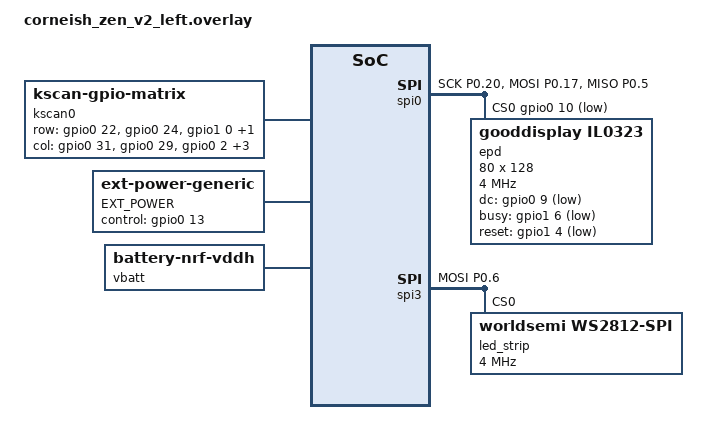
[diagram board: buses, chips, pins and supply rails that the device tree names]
/*
*
* Copyright (c) 2021 Darryl deHaan
* SPDX-License-Identifier: MIT
*
*/

#include "corneish_zen.dtsi"
#include <dt-bindings/led/led.h>



/{
    chosen {
        zephyr,display = &epd;
        zmk,battery = &vbatt;
        zmk,underglow = &led_strip;
    };

    kscan0: kscan {
        compatible = "zmk,kscan-gpio-matrix";
     wakeup-source;
        diode-direction = "col2row";
        row-gpios
            = <&gpio0 22 (GPIO_ACTIVE_HIGH | GPIO_PULL_DOWN)>
            , <&gpio0 24 (GPIO_ACTIVE_HIGH | GPIO_PULL_DOWN)>
            , <&gpio1 0 (GPIO_ACTIVE_HIGH | GPIO_PULL_DOWN)>
            , <&gpio0 11 (GPIO_ACTIVE_HIGH | GPIO_PULL_DOWN)>
            ;

        col-gpios
            = <&gpio0 31 GPIO_ACTIVE_HIGH>
            , <&gpio0 29 GPIO_ACTIVE_HIGH>
            , <&gpio0 2 GPIO_ACTIVE_HIGH>
            , <&gpio1 15 GPIO_ACTIVE_HIGH>
            , <&gpio1  13 GPIO_ACTIVE_HIGH>
            , <&gpio1  11 GPIO_ACTIVE_HIGH>
            ;
    };

    //leds {
     //   compatible = "gpio-leds";
     //   blue_led: led_0 {
     //       gpios = <&gpio0 13 GPIO_ACTIVE_HIGH>;
     //   };
   // };

    ext-power {
        compatible = "zmk,ext-power-generic";
        label = "EXT_POWER";
        control-gpios = <&gpio0 13 GPIO_ACTIVE_HIGH>;
         init-delay-ms = <50>;
    };

     vbatt: vbatt {
        compatible = "zmk,battery-nrf-vddh";
    };

};



&pinctrl {
    spi0_default: spi0_default {
        group1 {
            psels = <NRF_PSEL(SPIM_SCK, 0, 20)>,
                <NRF_PSEL(SPIM_MOSI, 0, 17)>,
                <NRF_PSEL(SPIM_MISO, 0, 5)>;
        };
    };

    spi0_sleep: spi0_sleep {
        group1 {
            psels = <NRF_PSEL(SPIM_SCK, 0, 20)>,
                <NRF_PSEL(SPIM_MOSI, 0, 17)>,
                <NRF_PSEL(SPIM_MISO, 0, 5)>;
            low-power-enable;
        };
    };
    spi3_default: spi3_default {
        group1 {
            psels = <NRF_PSEL(SPIM_MOSI, 0, 6)>; // WS2812_VEXT_DATA
        };
    };

    spi3_sleep: spi3_sleep {
        group1 {
            psels = <NRF_PSEL(SPIM_MOSI, 0, 6)>;
            low-power-enable;
        };
    };
};

&spi0 {
    status = "okay";
    compatible = "nordic,nrf-spim";
    pinctrl-0 = <&spi0_default>;
    pinctrl-1 = <&spi0_sleep>;
    pinctrl-names = "default", "sleep";
    cs-gpios = <&gpio0 10 GPIO_ACTIVE_LOW>;

    epd: il0323@0 {
        compatible = "gooddisplay,il0323";
        reg =  <0>;
        width = <80>;
        height = <128>;
        spi-max-frequency = <4000000>;
        dc-gpios = <&gpio0 9 GPIO_ACTIVE_LOW>;
        busy-gpios = <&gpio1 6 GPIO_ACTIVE_LOW>;
        reset-gpios = <&gpio1 4 GPIO_ACTIVE_LOW>;
        pwr = [03 00 26 26];
        cdi = <0xd2>;
        tcon = <0x22>;
    };
};
&spi3 {
    compatible = "nordic,nrf-spim";
    status = "okay";

    pinctrl-0 = <&spi3_default>;
    pinctrl-1 = <&spi3_sleep>;
    pinctrl-names = "default", "sleep";

    led_strip: ws2812@0 {
        compatible = "worldsemi,ws2812-spi";

        /* SPI */
        reg = <0>; /* ignored, but necessary for SPI bindings */
        spi-max-frequency = <4000000>;

        /* WS2812 */
        chain-length = <12>; /* 6 keys have underglow at the moment */
        spi-one-frame = <0x70>;
        spi-zero-frame = <0x40>;

        color-mapping = <LED_COLOR_ID_GREEN LED_COLOR_ID_RED LED_COLOR_ID_BLUE>;
    };
};
